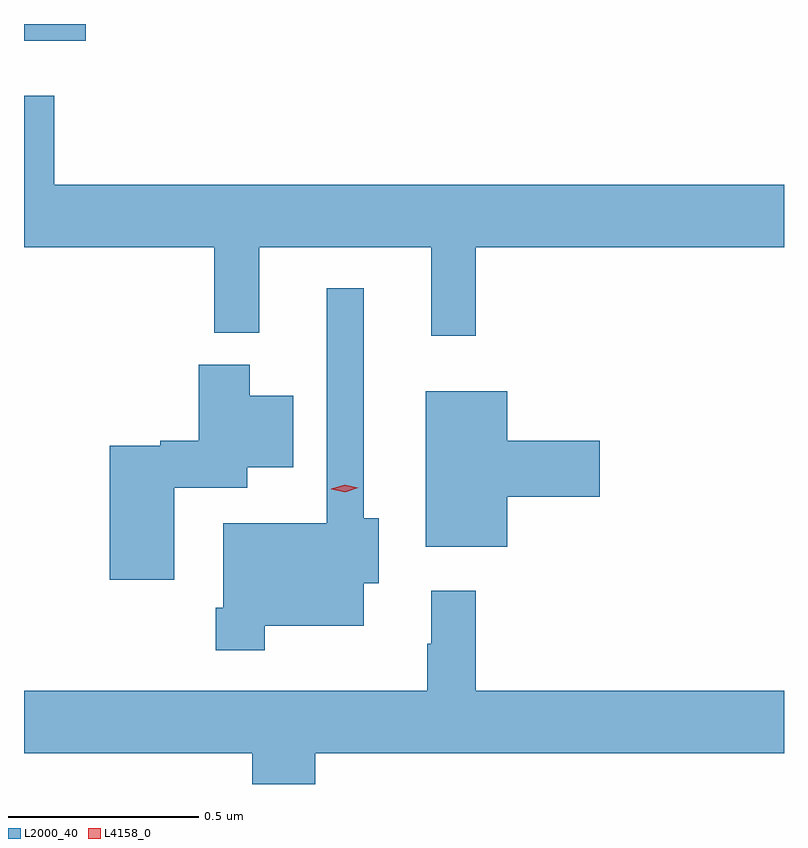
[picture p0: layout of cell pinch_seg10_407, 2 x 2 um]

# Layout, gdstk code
import gdstk
lib = gdstk.Library(unit=1e-6, precision=1e-09)
def R(c, l, rs):  # rectangles x0, y0, x1, y1
    for r in rs: c.add(gdstk.rectangle(r[:2], r[2:], *l))
def P(c, l, *ps):  # polygons
    for p in ps: c.add(gdstk.Polygon(p, *l))
L2000_40 = (2000, 40)
L4158_0 = (4158, 0)

pinch_seg10_407 = lib.new_cell('pinch_seg10_407')
R(pinch_seg10_407, L2000_40, [(555.382,1272.887,555.544,1272.931)])
P(pinch_seg10_407, L2000_40, [(556.571,1272.344),(557.382,1272.344),(557.382,1272.508),(555.461,1272.508),(555.461,1272.742),(555.382,1272.742),(555.382,1272.344),(555.883,1272.344),(555.883,1272.119),(556.001,1272.119),(556.001,1272.344),(556.454,1272.344),(556.454,1272.111),(556.571,1272.111)],
  [(556.015,1271.348),(556.276,1271.348),(556.276,1271.459),(556.315,1271.459),(556.315,1271.63),(556.276,1271.63),(556.276,1272.235),(556.179,1272.235),(556.179,1271.617),(555.906,1271.617),(555.906,1271.395),(555.886,1271.395),(555.886,1271.283),(556.015,1271.283)],
  [(555.778,1271.711),(555.97,1271.711),(555.97,1271.765),(556.09,1271.765),(556.09,1271.953),(555.976,1271.953),(555.976,1272.034),(555.842,1272.034),(555.842,1271.834),(555.741,1271.834),(555.741,1271.821),(555.608,1271.821),(555.608,1271.469),(555.778,1271.469)],
  [(556.654,1271.687),(556.897,1271.687),(556.897,1271.834),(556.654,1271.834),(556.654,1271.965),(556.439,1271.965),(556.439,1271.555),(556.654,1271.555)],
  [(556.148,1271.012),(557.382,1271.012),(557.382,1271.176),(556.571,1271.176),(556.571,1271.44),(556.454,1271.44),(556.454,1271.3),(556.443,1271.3),(556.443,1271.176),(555.382,1271.176),(555.382,1271.012),(555.983,1271.012),(555.983,1270.931),(556.148,1270.931)])
P(pinch_seg10_407, L4158_0, [(556.227,1271.699),(556.191,1271.707),(556.191,1271.707),(556.191,1271.708),(556.226,1271.719),(556.262,1271.71),(556.262,1271.71),(556.262,1271.71)])

lib.write_gds('pinch_seg10_407.gds')
